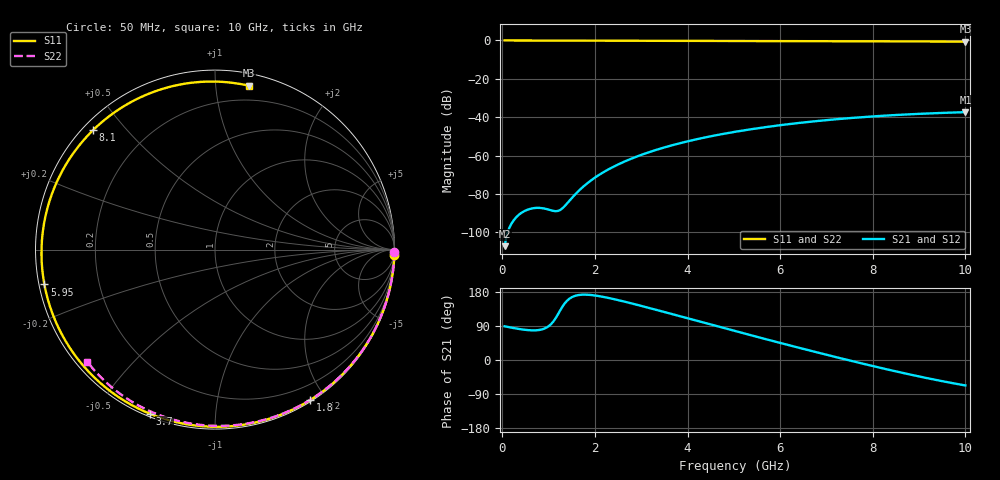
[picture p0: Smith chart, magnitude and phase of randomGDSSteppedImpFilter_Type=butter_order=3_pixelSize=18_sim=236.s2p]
! freq	dB(S11)	phase(S11)	dB(S12)	phase(S12)
!  dB(S21)	phase(S21)	dB(S22)	phase(S22)
!S-par simulation data
#  GHz  S  DB  R 50
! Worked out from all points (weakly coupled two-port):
!   200 points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, 50 MHz to 10 GHz, reference 50 ohm
!   highest |S21| = -37.39 dB at 10 GHz (marker M1); lowest = -107.3 dB at 50 MHz (marker M2)
!   lowest |S11| = -0.6 dB at 10 GHz (marker M3), VSWR 28.59, Z = 4.39 + j61.4 ohm
!   |S11| at or under -10 dB: nowhere
!   |S22| runs from -0.5 to 0.0 dB; largest |S21 - S12| = 0
!   S11 on the Smith chart (normalised r, x): 50 MHz: 0, -69; 1.8 GHz: 0.02, -1.81; 3.7 GHz: 0.01, -0.68; 5.95 GHz: 0.02, -0.10; 8.1 GHz: 0.03, +0.41; 10 GHz: 0.09, +1.23
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0.05  -0.00 -1.7  -107.29 89.0  -107.29 89.0  -0.00 -0.8
0.75  -0.03 -24.6  -87.30 78.5  -87.30 78.5  -0.02 -12.0
1.55  -0.06 -50.0  -80.91 168.4  -80.91 168.4  -0.03 -24.6
1.6  -0.06 -51.6  -79.64 170.3  -79.64 170.3  -0.03 -25.4
1.75  -0.07 -56.2  -76.20 172.4  -76.20 172.4  -0.04 -27.7
1.8  -0.07 -57.7  -75.17 172.4  -75.17 172.4  -0.04 -28.5
2.1  -0.08 -66.7  -69.95 168.3  -69.95 168.3  -0.04 -33.1
2.45  -0.09 -77.0  -65.27 159.5  -65.27 159.5  -0.05 -38.5
2.9  -0.11 -89.9  -60.59 146.0  -60.59 146.0  -0.06 -45.3
3.4  -0.13 -103.6  -56.50 129.9  -56.50 129.9  -0.07 -52.7
3.7  -0.14 -111.6  -54.44 120.0  -54.44 120.0  -0.08 -57.1
4.4  -0.17 -129.8  -50.47 96.9  -50.47 96.9  -0.10 -67.1
5.05  -0.21 -146.1  -47.55 75.6  -47.55 75.6  -0.12 -76.2
5.95  -0.26 -168.5  -44.35 46.6  -44.35 46.6  -0.15 -88.3
6.7  -0.32 172.7  -42.27 23.1  -42.27 23.1  -0.19 -98.1
7.4  -0.37 154.6  -40.70 1.7  -40.70 1.7  -0.23 -106.9
8.1  -0.43 135.6  -39.46 -18.8  -39.46 -18.8  -0.28 -115.6
8.35  -0.46 128.6  -39.08 -25.9  -39.08 -25.9  -0.30 -118.7
8.8  -0.50 115.5  -38.50 -38.2  -38.50 -38.2  -0.34 -124.2
9.2  -0.53 103.4  -38.07 -48.5  -38.07 -48.5  -0.38 -129.1
9.6  -0.57 91.0  -37.70 -58.2  -37.70 -58.2  -0.43 -133.9
10  -0.61 78.2  -37.39 -67.2  -37.39 -67.2  -0.48 -138.8
